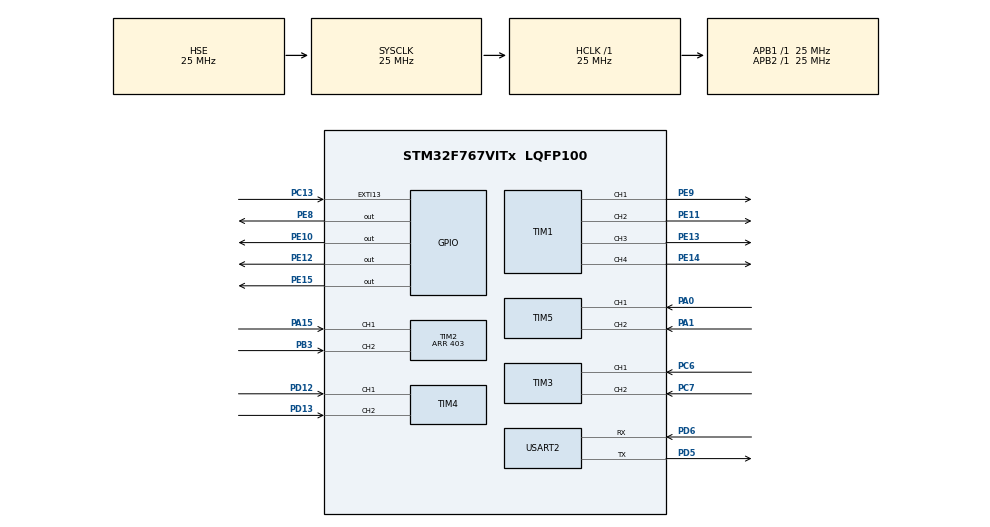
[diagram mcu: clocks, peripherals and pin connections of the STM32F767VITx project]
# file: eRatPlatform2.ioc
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FREERTOS.Tasks01=defaultTask,0,128,StartDefaultTask,Default,NULL
Mcu.Family=STM32F7
Mcu.Name=STM32F767VITx
Mcu.Package=LQFP100
NVIC.EXTI15_10_IRQn=true\:0\:0\:false\:false\:true\:false\:true
NVIC.PriorityGroup=NVIC_PRIORITYGROUP_4
NVIC.TIM8_TRG_COM_TIM14_IRQn=true\:0\:0\:false\:false\:true\:false\:false
NVIC.TimeBase=TIM8_TRG_COM_TIM14_IRQn
NVIC.TimeBaseIP=TIM14
PA0/WKUP.Signal=S_TIM5_CH1
PA1.Signal=S_TIM5_CH2
PA13.Mode=Serial_Wire
PA13.Signal=SYS_JTMS-SWDIO
PA14.Mode=Serial_Wire
PA14.Signal=SYS_JTCK-SWCLK
PA15.Signal=S_TIM2_CH1_ETR
PB3.Signal=S_TIM2_CH2
PC13.GPIO_ModeDefaultEXTI=GPIO_MODE_IT_RISING
PC13.Signal=GPXTI13
PC14/OSC32_IN.Mode=LSE-External-Oscillator
PC14/OSC32_IN.Signal=RCC_OSC32_IN
PC15/OSC32_OUT.Mode=LSE-External-Oscillator
PC15/OSC32_OUT.Signal=RCC_OSC32_OUT
PC6.Signal=S_TIM3_CH1
PC7.Signal=S_TIM3_CH2
PD12.Signal=S_TIM4_CH1
PD13.Signal=S_TIM4_CH2
PD5.Mode=Asynchronous
PD5.Signal=USART2_TX
PD6.Mode=Asynchronous
PD6.Signal=USART2_RX
PE10.Signal=GPIO_Output
PE11.Signal=S_TIM1_CH2
PE12.Signal=GPIO_Output
PE13.Signal=S_TIM1_CH3
PE14.Signal=S_TIM1_CH4
PE15.Signal=GPIO_Output
PE8.Signal=GPIO_Output
PE9.Signal=S_TIM1_CH1
PH0/OSC_IN.Mode=HSE-External-Oscillator
PH0/OSC_IN.Signal=RCC_OSC_IN
PH1/OSC_OUT.Mode=HSE-External-Oscillator
PH1/OSC_OUT.Signal=RCC_OSC_OUT
ProjectManager.HeapSize=0x200
ProjectManager.StackSize=0x400
ProjectManager.TargetToolchain=SW4STM32
RCC.AHBFreq_Value=25000000
RCC.APB1Freq_Value=25000000
RCC.APB1TimFreq_Value=25000000
RCC.APB2Freq_Value=25000000
RCC.APB2TimFreq_Value=25000000
RCC.CortexFreq_Value=25000000
RCC.EnbaleCSS=true
RCC.HCLKFreq_Value=25000000
RCC.HSE_VALUE=25000000
RCC.HSI_VALUE=16000000
RCC.PLLM=12
RCC.PLLN=144
RCC.PLLQ=5
RCC.PLLSourceVirtual=RCC_PLLSOURCE_HSE
RCC.SYSCLKFreq_VALUE=25000000
RCC.SYSCLKSource=RCC_SYSCLKSOURCE_HSE
RCC.USBFreq_Value=60000000
RCC.VCOOutputFreq_Value=300000000
SH.S_TIM1_CH1.0=TIM1_CH1,PWM Generation1 CH1
SH.S_TIM1_CH2.0=TIM1_CH2,PWM Generation2 CH2
SH.S_TIM1_CH3.0=TIM1_CH3,PWM Generation3 CH3
SH.S_TIM1_CH4.0=TIM1_CH4,PWM Generation4 CH4
SH.S_TIM2_CH1_ETR.0=TIM2_CH1,Encoder_Interface
SH.S_TIM2_CH2.0=TIM2_CH2,Encoder_Interface
SH.S_TIM3_CH1.0=TIM3_CH1,Encoder_Interface
SH.S_TIM3_CH2.0=TIM3_CH2,Encoder_Interface
SH.S_TIM4_CH1.0=TIM4_CH1,Encoder_Interface
SH.S_TIM4_CH2.0=TIM4_CH2,Encoder_Interface
SH.S_TIM5_CH1.0=TIM5_CH1,Encoder_Interface
SH.S_TIM5_CH2.0=TIM5_CH2,Encoder_Interface
TIM1.Channel-PWM\ Generation1\ CH1=TIM_CHANNEL_1
TIM1.Channel-PWM\ Generation2\ CH2=TIM_CHANNEL_2
TIM1.Channel-PWM\ Generation3\ CH3=TIM_CHANNEL_3
TIM1.Channel-PWM\ Generation4\ CH4=TIM_CHANNEL_4
TIM2.IC2Filter=15
TIM2.Period=403
USART2.VirtualMode-Asynchronous=VM_ASYNC
VP_FREERTOS_VS_ENABLE.Mode=Enabled
VP_SYS_VS_tim14.Mode=TIM14
board=custom

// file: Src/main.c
/**
  ******************************************************************************
  * @file           : main.c
  * @brief          : Main program body
  ******************************************************************************
  * This notice applies to any and all portions of this file
  * that are not between comment pairs USER CODE BEGIN and
  * USER CODE END. Other portions of this file, whether
  * inserted by the user or by software development tools
  * are owned by their respective copyright owners.
  *
  * Copyright (c) 2018 STMicroelectronics International N.V.
  * All rights reserved.
  *
  * Redistribution and use in source and binary forms, with or without
  * modification, are permitted, provided that the following conditions are met:
  *
  * 1. Redistribution of source code must retain the above copyright notice,
  *    this list of conditions and the following disclaimer.
  * 2. Redistributions in binary form must reproduce the above copyright notice,
  *    this list of conditions and the following disclaimer in the documentation
  *    and/or other materials provided with the distribution.
  * 3. Neither the name of STMicroelectronics nor the names of other
  *    contributors to this software may be used to endorse or promote products
  *    derived from this software without specific written permission.
  * 4. This software, including modifications and/or derivative works of this
  *    software, must execute solely and exclusively on microcontroller or
  *    microprocessor devices manufactured by or for STMicroelectronics.
  * 5. Redistribution and use of this software other than as permitted under
  *    this license is void and will automatically terminate your rights under
  *    this license.
  *
  * THIS SOFTWARE IS PROVIDED BY STMICROELECTRONICS AND CONTRIBUTORS "AS IS"
  * AND ANY EXPRESS, IMPLIED OR STATUTORY WARRANTIES, INCLUDING, BUT NOT
  * LIMITED TO, THE IMPLIED WARRANTIES OF MERCHANTABILITY, FITNESS FOR A
  * PARTICULAR PURPOSE AND NON-INFRINGEMENT OF THIRD PARTY INTELLECTUAL PROPERTY
  * RIGHTS ARE DISCLAIMED TO THE FULLEST EXTENT PERMITTED BY LAW. IN NO EVENT
  * SHALL STMICROELECTRONICS OR CONTRIBUTORS BE LIABLE FOR ANY DIRECT, INDIRECT,
  * INCIDENTAL, SPECIAL, EXEMPLARY, OR CONSEQUENTIAL DAMAGES (INCLUDING, BUT NOT
  * LIMITED TO, PROCUREMENT OF SUBSTITUTE GOODS OR SERVICES; LOSS OF USE, DATA,
  * OR PROFITS; OR BUSINESS INTERRUPTION) HOWEVER CAUSED AND ON ANY THEORY OF
  * LIABILITY, WHETHER IN CONTRACT, STRICT LIABILITY, OR TORT (INCLUDING
  * NEGLIGENCE OR OTHERWISE) ARISING IN ANY WAY OUT OF THE USE OF THIS SOFTWARE,
  * EVEN IF ADVISED OF THE POSSIBILITY OF SUCH DAMAGE.
  *
  ******************************************************************************
  */
#include "main.h"
#include "stm32f7xx_hal.h"
#include "cmsis_os.h"
#include "tim.h"
#include "usart.h"
#include "gpio.h"

/* USER CODE BEGIN Includes */

#include "WheelDriveSystem.h"
#include "stm32f767xx.h"

/* USER CODE END Includes */

/* USER CODE BEGIN PV */
/* Private variables ---------------------------------------------------------*/

int16_t encoderFL; //TIM2
int16_t encoderRL; //TIM3
int16_t encoderFR; //TIM4
int16_t encoderRR; //TIM5

int16_t pwm_value;
int16_t step;

char buffer[100];

int8_t user_button1 = -1;

/* USER CODE END PV */

void SystemClock_Config(void);
void MX_FREERTOS_Init(void);

/* USER CODE BEGIN PFP */
/* Private function prototypes -----------------------------------------------*/

/* USER CODE END PFP */

/* USER CODE BEGIN 0 */

void user_pwm_setvalue(uint16_t value)
{
    TIM_OC_InitTypeDef sConfigOC;

    sConfigOC.OCMode = TIM_OCMODE_PWM1;
    sConfigOC.Pulse = value;
    sConfigOC.OCPolarity = TIM_OCPOLARITY_HIGH;
    sConfigOC.OCFastMode = TIM_OCFAST_DISABLE;

    HAL_TIM_PWM_ConfigChannel(&htim1, &sConfigOC, TIM_CHANNEL_1);
    HAL_TIM_PWM_Start(&htim1, TIM_CHANNEL_1);

    HAL_TIM_PWM_ConfigChannel(&htim1, &sConfigOC, TIM_CHANNEL_2);
    HAL_TIM_PWM_Start(&htim1, TIM_CHANNEL_2);

    HAL_TIM_PWM_ConfigChannel(&htim1, &sConfigOC, TIM_CHANNEL_3);
    HAL_TIM_PWM_Start(&htim1, TIM_CHANNEL_3);

    HAL_TIM_PWM_ConfigChannel(&htim1, &sConfigOC, TIM_CHANNEL_4);
    HAL_TIM_PWM_Start(&htim1, TIM_CHANNEL_4);
}

/* USER CODE END 0 */

int main(void)
{

  /* MCU Configuration----------------------------------------------------------*/

  /* Reset of all peripherals, Initializes the Flash interface and the Systick. */
  HAL_Init();

  /* Configure the system clock */
  SystemClock_Config();

  /* Initialize all configured peripherals */
  MX_GPIO_Init();

  /* WHEEL DRIVE INIT BEGIN */
	  /* Initialize PWM for Wheel Drive: Front Left, Rear Left, Front Right, Rear Right*/
	  MX_TIM1_Init();

	HAL_TIM_PWM_Start(&htim1, TIM_CHANNEL_1);
	HAL_TIM_PWM_Start(&htim1, TIM_CHANNEL_2);
	HAL_TIM_PWM_Start(&htim1, TIM_CHANNEL_3);
	HAL_TIM_PWM_Start(&htim1, TIM_CHANNEL_4);

	  /* Initialize Encoder for Wheel Drive Front Left, Rear Left, Front Right, Rear Right*/
	  MX_TIM2_Init();
	  HAL_TIM_Encoder_Start(&htim2, TIM_CHANNEL_1 | TIM_CHANNEL_2);

	  /* Initialize Encoder for Wheel Drive Rear Left */
	  MX_TIM3_Init();
	  HAL_TIM_Encoder_Start(&htim3, TIM_CHANNEL_1 | TIM_CHANNEL_2);

	  /* Initialize Encoder for Wheel Drive Front Right */
	  MX_TIM4_Init();
	  HAL_TIM_Encoder_Start(&htim4, TIM_CHANNEL_1 | TIM_CHANNEL_2);

	  /* Initialize Encoder for Wheel Drive Rear Right */
	  MX_TIM5_Init();
	  HAL_TIM_Encoder_Start(&htim5, TIM_CHANNEL_1 | TIM_CHANNEL_2);
  /* WHEEL DRIVE INIT END */

  MX_USART2_UART_Init();

  /* Call init function for freertos objects (in freertos.c) */
  MX_FREERTOS_Init();

  /* Start scheduler */
  osKernelStart();

  /* We should never get here as control is now taken by the scheduler */

  /* Infinite loop */
  while (1)
  {

  }

}

void SystemClock_Config(void)
{

  RCC_OscInitTypeDef RCC_OscInitStruct;
  RCC_ClkInitTypeDef RCC_ClkInitStruct;
  RCC_PeriphCLKInitTypeDef PeriphClkInitStruct;

    /**Configure the main internal regulator output voltage
    */
  __HAL_RCC_PWR_CLK_ENABLE();

  __HAL_PWR_VOLTAGESCALING_CONFIG(PWR_REGULATOR_VOLTAGE_SCALE3);

    /**Initializes the CPU, AHB and APB busses clocks
    */
  RCC_OscInitStruct.OscillatorType = RCC_OSCILLATORTYPE_HSE;
  RCC_OscInitStruct.HSEState = RCC_HSE_ON;
  RCC_OscInitStruct.PLL.PLLState = RCC_PLL_NONE;
  if (HAL_RCC_OscConfig(&RCC_OscInitStruct) != HAL_OK)
  {
    _Error_Handler(__FILE__, __LINE__);
  }

    /**Initializes the CPU, AHB and APB busses clocks
    */
  RCC_ClkInitStruct.ClockType = RCC_CLOCKTYPE_HCLK|RCC_CLOCKTYPE_SYSCLK
                              |RCC_CLOCKTYPE_PCLK1|RCC_CLOCKTYPE_PCLK2;
  RCC_ClkInitStruct.SYSCLKSource = RCC_SYSCLKSOURCE_HSE;
  RCC_ClkInitStruct.AHBCLKDivider = RCC_SYSCLK_DIV1;
  RCC_ClkInitStruct.APB1CLKDivider = RCC_HCLK_DIV1;
  RCC_ClkInitStruct.APB2CLKDivider = RCC_HCLK_DIV1;

  if (HAL_RCC_ClockConfig(&RCC_ClkInitStruct, FLASH_LATENCY_0) != HAL_OK)
  {
    _Error_Handler(__FILE__, __LINE__);
  }

  PeriphClkInitStruct.PeriphClockSelection = RCC_PERIPHCLK_USART2;
  PeriphClkInitStruct.Usart2ClockSelection = RCC_USART2CLKSOURCE_PCLK1;
  if (HAL_RCCEx_PeriphCLKConfig(&PeriphClkInitStruct) != HAL_OK)
  {
    _Error_Handler(__FILE__, __LINE__);
  }

    /**Enables the Clock Security System
    */
  HAL_RCC_EnableCSS();

    /**Configure the Systick interrupt time
    */
  HAL_SYSTICK_Config(HAL_RCC_GetHCLKFreq()/1000);

    /**Configure the Systick
    */
  HAL_SYSTICK_CLKSourceConfig(SYSTICK_CLKSOURCE_HCLK);

  /* SysTick_IRQn interrupt configuration */
  HAL_NVIC_SetPriority(SysTick_IRQn, 15, 0);
}

void HAL_TIM_PeriodElapsedCallback(TIM_HandleTypeDef *htim)
{
  if (htim->Instance == TIM14) {
    HAL_IncTick();
  }
}

void _Error_Handler(char *file, int line)
{
  while(1)
  {
  }
}

/************************ (C) COPYRIGHT STMicroelectronics *****END OF FILE****/

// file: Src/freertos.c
/**
  ******************************************************************************
  * File Name          : freertos.c
  * Description        : Code for freertos applications
  ******************************************************************************
  * This notice applies to any and all portions of this file
  * that are not between comment pairs USER CODE BEGIN and
  * USER CODE END. Other portions of this file, whether
  * inserted by the user or by software development tools
  * are owned by their respective copyright owners.
  *
  * Copyright (c) 2018 STMicroelectronics International N.V.
  * All rights reserved.
  *
  * Redistribution and use in source and binary forms, with or without
  * modification, are permitted, provided that the following conditions are met:
  *
  * 1. Redistribution of source code must retain the above copyright notice,
  *    this list of conditions and the following disclaimer.
  * 2. Redistributions in binary form must reproduce the above copyright notice,
  *    this list of conditions and the following disclaimer in the documentation
  *    and/or other materials provided with the distribution.
  * 3. Neither the name of STMicroelectronics nor the names of other
  *    contributors to this software may be used to endorse or promote products
  *    derived from this software without specific written permission.
  * 4. This software, including modifications and/or derivative works of this
  *    software, must execute solely and exclusively on microcontroller or
  *    microprocessor devices manufactured by or for STMicroelectronics.
  * 5. Redistribution and use of this software other than as permitted under
  *    this license is void and will automatically terminate your rights under
  *    this license.
  *
  * THIS SOFTWARE IS PROVIDED BY STMICROELECTRONICS AND CONTRIBUTORS "AS IS"
  * AND ANY EXPRESS, IMPLIED OR STATUTORY WARRANTIES, INCLUDING, BUT NOT
  * LIMITED TO, THE IMPLIED WARRANTIES OF MERCHANTABILITY, FITNESS FOR A
  * PARTICULAR PURPOSE AND NON-INFRINGEMENT OF THIRD PARTY INTELLECTUAL PROPERTY
  * RIGHTS ARE DISCLAIMED TO THE FULLEST EXTENT PERMITTED BY LAW. IN NO EVENT
  * SHALL STMICROELECTRONICS OR CONTRIBUTORS BE LIABLE FOR ANY DIRECT, INDIRECT,
  * INCIDENTAL, SPECIAL, EXEMPLARY, OR CONSEQUENTIAL DAMAGES (INCLUDING, BUT NOT
  * LIMITED TO, PROCUREMENT OF SUBSTITUTE GOODS OR SERVICES; LOSS OF USE, DATA,
  * OR PROFITS; OR BUSINESS INTERRUPTION) HOWEVER CAUSED AND ON ANY THEORY OF
  * LIABILITY, WHETHER IN CONTRACT, STRICT LIABILITY, OR TORT (INCLUDING
  * NEGLIGENCE OR OTHERWISE) ARISING IN ANY WAY OUT OF THE USE OF THIS SOFTWARE,
  * EVEN IF ADVISED OF THE POSSIBILITY OF SUCH DAMAGE.
  *
  ******************************************************************************
  */

#include "FreeRTOS.h"
#include "task.h"
#include "cmsis_os.h"

/* USER CODE BEGIN Includes */

#include "tim.h"
#include "WheelDrive.h"

/* USER CODE END Includes */

osThreadId defaultTaskHandle;

/* USER CODE BEGIN Variables */

extern int16_t encoderFL; //TIM2
extern int16_t encoderRL; //TIM3
extern int16_t encoderFR; //TIM4
extern int16_t encoderRR; //TIM5

extern int8_t user_button1;

/* USER CODE END Variables */

void StartDefaultTask(void const * argument);

void MX_FREERTOS_Init(void); /* (MISRA C 2004 rule 8.1) */

/* USER CODE BEGIN FunctionPrototypes */
void StartEncodersTestTask(void const * argument);

void StartMotorsTestTask(void const * argument);
/* USER CODE END FunctionPrototypes */

/* Hook prototypes */

/* Init FreeRTOS */

void MX_FREERTOS_Init(void) {

  /* Create the thread(s) */
  /* definition and creation of defaultTask */
//  osThreadDef(defaultTask, StartDefaultTask, osPriorityNormal, 0, 128);
//  defaultTaskHandle = osThreadCreate(osThread(defaultTask), NULL);

  /* USER CODE BEGIN RTOS_THREADS */
  /* add threads, ... */
//  osThreadDef(defaultTask, StartEncodersTestTask, osPriorityNormal, 0, 128);
//  defaultTaskHandle = osThreadCreate(osThread(defaultTask), NULL);

  osThreadDef(defaultTask, StartMotorsTestTask, osPriorityNormal, 0, 128);
  defaultTaskHandle = osThreadCreate(osThread(defaultTask), NULL);
  /* USER CODE END RTOS_THREADS */

}

/* StartDefaultTask function */
void StartDefaultTask(void const * argument)
{

  for(;;)
  {
    osDelay(1);
  }
}

/* USER CODE BEGIN Application */

void StartEncodersTestTask(void const * argument)
{

  /* USER CODE BEGIN StartEncoderTask */
  /* Infinite loop */
  for(;;)
  {
	  encoderFL = TIM2->CNT;
	  encoderRL = TIM3->CNT;
	  encoderFR = -TIM4->CNT;
	  encoderRR = -TIM5->CNT;
    osDelay(1);
  }
  /* USER CODE END StartEncoderTask */
}

void StartMotorsTestTask(void const * argument)
{

  /* USER CODE BEGIN StartEncoderTask */
  /* Infinite loop */
  for(;;)
  {
	  encoderFL = -TIM2->CNT;
	  encoderRL = -TIM3->CNT;
	  encoderFR = TIM4->CNT;
	  encoderRR = TIM5->CNT;

	  if(user_button1 == 1){
//		  HAL_GPIO_WritePin(GPIOE, GPIO_PIN_8, 1);
//		  HAL_GPIO_WritePin(GPIOE, GPIO_PIN_10, 1);
//		  HAL_GPIO_WritePin(GPIOE, GPIO_PIN_12, 0);
//		  HAL_GPIO_WritePin(GPIOE, GPIO_PIN_15, 0);

		  //Forward driving Test
		  WheelDriveFrontLeft_Run(100);
		  WheelDriveRearLeft_Run(100);
		  WheelDriveFrontRight_Run(100);
		  WheelDriveRearRight_Run(100);

		  osDelay(100);
	  }else if(user_button1 == 2){
		  //Reverse driving Test

		  WheelDriveFrontLeft_Run(-100);
		  WheelDriveRearLeft_Run(-100);
		  WheelDriveFrontRight_Run(-100);
		  WheelDriveRearRight_Run(-100);

		  osDelay(100);
	  }else if(user_button1 == 3){
		  //Hard stop Test

		  WheelDriveFrontLeft_Run(0);
		  WheelDriveRearLeft_Run(0);
		  WheelDriveFrontRight_Run(0);
		  WheelDriveRearRight_Run(0);

		  osDelay(100);
	  }else if(user_button1 == -1 || user_button1 == 4){
		  //Soft stop Test

		  WheelDriveFrontLeft_Run(-1);
		  WheelDriveRearLeft_Run(-1);
		  WheelDriveFrontRight_Run(-1);
		  WheelDriveRearRight_Run(-1);

		  osDelay(100);
	  }

    osDelay(1);
  }
  /* USER CODE END StartEncoderTask */
}

/* USER CODE END Application */

/************************ (C) COPYRIGHT STMicroelectronics *****END OF FILE****/
